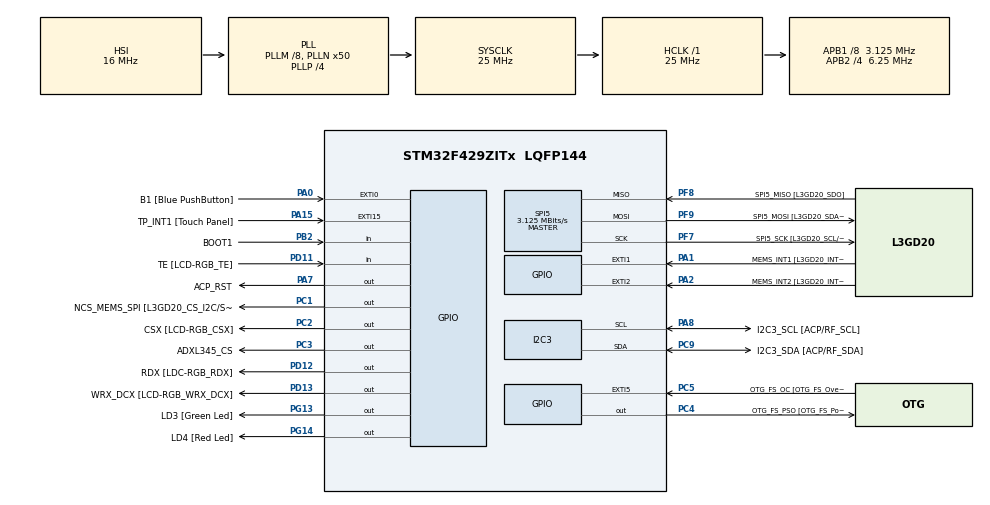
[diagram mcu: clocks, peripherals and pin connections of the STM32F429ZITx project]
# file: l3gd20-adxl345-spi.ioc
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Dma.I2C3_RX.2.Direction=DMA_PERIPH_TO_MEMORY
Dma.I2C3_RX.2.FIFOMode=DMA_FIFOMODE_DISABLE
Dma.I2C3_RX.2.Instance=DMA1_Stream2
Dma.I2C3_RX.2.MemDataAlignment=DMA_MDATAALIGN_BYTE
Dma.I2C3_RX.2.MemInc=DMA_MINC_ENABLE
Dma.I2C3_RX.2.Mode=DMA_NORMAL
Dma.I2C3_RX.2.PeriphDataAlignment=DMA_PDATAALIGN_BYTE
Dma.I2C3_RX.2.PeriphInc=DMA_PINC_DISABLE
Dma.I2C3_RX.2.Priority=DMA_PRIORITY_LOW
Dma.Request0=SPI5_RX
Dma.Request1=SPI5_TX
Dma.Request2=I2C3_RX
Dma.SPI5_RX.0.Direction=DMA_PERIPH_TO_MEMORY
Dma.SPI5_RX.0.FIFOMode=DMA_FIFOMODE_DISABLE
Dma.SPI5_RX.0.Instance=DMA2_Stream3
Dma.SPI5_RX.0.MemDataAlignment=DMA_MDATAALIGN_BYTE
Dma.SPI5_RX.0.MemInc=DMA_MINC_ENABLE
Dma.SPI5_RX.0.Mode=DMA_NORMAL
Dma.SPI5_RX.0.PeriphDataAlignment=DMA_PDATAALIGN_BYTE
Dma.SPI5_RX.0.PeriphInc=DMA_PINC_DISABLE
Dma.SPI5_RX.0.Priority=DMA_PRIORITY_LOW
Dma.SPI5_TX.1.Direction=DMA_MEMORY_TO_PERIPH
Dma.SPI5_TX.1.FIFOMode=DMA_FIFOMODE_DISABLE
Dma.SPI5_TX.1.Instance=DMA2_Stream4
Dma.SPI5_TX.1.MemDataAlignment=DMA_MDATAALIGN_BYTE
Dma.SPI5_TX.1.MemInc=DMA_MINC_ENABLE
Dma.SPI5_TX.1.Mode=DMA_NORMAL
Dma.SPI5_TX.1.PeriphDataAlignment=DMA_PDATAALIGN_BYTE
Dma.SPI5_TX.1.PeriphInc=DMA_PINC_DISABLE
Dma.SPI5_TX.1.Priority=DMA_PRIORITY_LOW
Mcu.Family=STM32F4
Mcu.Name=STM32F429ZITx
Mcu.Package=LQFP144
NVIC.DMA1_Stream2_IRQn=true\:0\:0\:false\:false\:true\:false\:true\:true
NVIC.DMA2_Stream3_IRQn=true\:0\:0\:false\:false\:true\:false\:true\:true
NVIC.DMA2_Stream4_IRQn=true\:0\:0\:false\:false\:true\:false\:true\:true
NVIC.I2C3_ER_IRQn=true\:0\:0\:false\:false\:true\:true\:true\:true
NVIC.I2C3_EV_IRQn=true\:0\:0\:false\:false\:true\:true\:true\:true
NVIC.PriorityGroup=NVIC_PRIORITYGROUP_0
NVIC.SPI5_IRQn=true\:0\:0\:false\:false\:true\:true\:true\:true
NVIC.TIM2_IRQn=true\:0\:0\:false\:false\:true\:true\:true\:true
PA0/WKUP.GPIO_Label=B1 [Blue PushButton]
PA0/WKUP.GPIO_ModeDefaultEXTI=GPIO_MODE_EVT_RISING
PA0/WKUP.GPIO_PuPd=GPIO_NOPULL
PA0/WKUP.Signal=GPXTI0
PA1.GPIO_Label=MEMS_INT1 [L3GD20_INT1]
PA1.GPIO_ModeDefaultEXTI=GPIO_MODE_EVT_RISING
PA1.GPIO_PuPd=GPIO_NOPULL
PA1.Signal=GPXTI1
PA10.GPIO_Label=STLINK_TX [STM32F103CBT6_PA2]
PA10.Signal=USART1_RX
PA11.GPIO_Label=R4
PA11.GPIO_Mode=GPIO_MODE_AF_PP
PA11.GPIO_PuPd=GPIO_NOPULL
PA11.GPIO_Speed=GPIO_SPEED_FREQ_LOW
PA11.Signal=LTDC_R4
PA12.GPIO_Label=R5
PA12.GPIO_Mode=GPIO_MODE_AF_PP
PA12.GPIO_PuPd=GPIO_NOPULL
PA12.GPIO_Speed=GPIO_SPEED_FREQ_LOW
PA12.Signal=LTDC_R5
PA13.GPIO_Label=SWDIO
PA13.Signal=SYS_JTMS-SWDIO
PA14.GPIO_Label=SWCLK
PA14.Signal=SYS_JTCK-SWCLK
PA15.GPIO_Label=TP_INT1 [Touch Panel]
PA15.GPIO_ModeDefaultEXTI=GPIO_MODE_EVT_RISING
PA15.GPIO_PuPd=GPIO_NOPULL
PA15.Signal=GPXTI15
PA2.GPIO_Label=MEMS_INT2 [L3GD20_INT2]
PA2.GPIO_ModeDefaultEXTI=GPIO_MODE_EVT_RISING
PA2.GPIO_PuPd=GPIO_NOPULL
PA2.Signal=GPXTI2
PA3.GPIO_Label=B5
PA3.GPIO_Mode=GPIO_MODE_AF_PP
PA3.GPIO_PuPd=GPIO_NOPULL
PA3.GPIO_Speed=GPIO_SPEED_FREQ_LOW
PA3.Signal=LTDC_B5
PA4.GPIO_Label=VSYNC
PA4.GPIO_Mode=GPIO_MODE_AF_PP
PA4.GPIO_PuPd=GPIO_NOPULL
PA4.GPIO_Speed=GPIO_SPEED_FREQ_LOW
PA4.Signal=LTDC_VSYNC
PA6.GPIO_Label=G2
PA6.GPIO_Mode=GPIO_MODE_AF_PP
PA6.GPIO_PuPd=GPIO_NOPULL
PA6.GPIO_Speed=GPIO_SPEED_FREQ_LOW
PA6.Signal=LTDC_G2
PA7.GPIO_Label=ACP_RST
PA7.GPIO_Mode=GPIO_MODE_OUTPUT_PP
PA7.GPIO_PuPd=GPIO_NOPULL
PA7.GPIO_Speed=GPIO_SPEED_FREQ_LOW
PA7.Signal=GPIO_Output
PA8.GPIO_Label=I2C3_SCL [ACP/RF_SCL]
PA8.GPIO_Mode=GPIO_MODE_AF_OD
PA8.GPIO_PuPd=GPIO_NOPULL
PA8.GPIO_Speed=GPIO_SPEED_FREQ_LOW
PA8.Mode=I2C
PA8.Signal=I2C3_SCL
PA9.GPIO_Label=STLINK_RX [STM32F103CBT6_PA3]
PA9.Signal=USART1_TX
PB0.GPIO_Label=R3
PB0.GPIO_Mode=GPIO_MODE_AF_PP
PB0.GPIO_PuPd=GPIO_NOPULL
PB0.GPIO_Speed=GPIO_SPEED_FREQ_LOW
PB0.Signal=LTDC_R3
PB1.GPIO_Label=R6
PB1.GPIO_Mode=GPIO_MODE_AF_PP
PB1.GPIO_PuPd=GPIO_NOPULL
PB1.GPIO_Speed=GPIO_SPEED_FREQ_LOW
PB1.Signal=LTDC_R6
PB10.GPIO_Label=G4
PB10.GPIO_Mode=GPIO_MODE_AF_PP
PB10.GPIO_PuPd=GPIO_NOPULL
PB10.GPIO_Speed=GPIO_SPEED_FREQ_LOW
PB10.Signal=LTDC_G4
PB11.GPIO_Label=G5
PB11.GPIO_Mode=GPIO_MODE_AF_PP
PB11.GPIO_PuPd=GPIO_NOPULL
PB11.GPIO_Speed=GPIO_SPEED_FREQ_LOW
PB11.Signal=LTDC_G5
PB12.GPIO_Label=OTG_HS_ID
PB12.GPIO_Mode=GPIO_MODE_AF_PP
PB12.GPIO_PuPd=GPIO_NOPULL
PB12.GPIO_Speed=GPIO_SPEED_FREQ_LOW
PB12.Signal=USB_OTG_HS_ID
PB13.GPIO_Label=VBUS_HS
PB13.GPIO_Mode=GPIO_MODE_INPUT
PB13.GPIO_PuPd=GPIO_NOPULL
PB13.Signal=USB_OTG_HS_VBUS
PB14.GPIO_Label=OTG_HS_DM
PB14.GPIO_Mode=GPIO_MODE_AF_PP
PB14.GPIO_PuPd=GPIO_NOPULL
PB14.GPIO_Speed=GPIO_SPEED_FREQ_LOW
PB14.Signal=USB_OTG_HS_DM
PB15.GPIO_Label=OTG_HS_DP
PB15.GPIO_Mode=GPIO_MODE_AF_PP
PB15.GPIO_PuPd=GPIO_NOPULL
PB15.GPIO_Speed=GPIO_SPEED_FREQ_LOW
PB15.Signal=USB_OTG_HS_DP
PB2/BOOT1.GPIO_Label=BOOT1
PB2/BOOT1.GPIO_Mode=GPIO_MODE_INPUT
PB2/BOOT1.GPIO_PuPd=GPIO_NOPULL
PB2/BOOT1.Signal=GPIO_Input
PB5.GPIO_Label=SDCKE1
PB5.GPIO_Mode=GPIO_MODE_AF_PP
PB5.GPIO_PuPd=GPIO_NOPULL
PB5.GPIO_Speed=GPIO_SPEED_FREQ_VERY_HIGH
PB5.Signal=FMC_SDCKE1
PB6.GPIO_Label=SDNE1 [SDRAM_CS]
PB6.GPIO_Mode=GPIO_MODE_AF_PP
PB6.GPIO_PuPd=GPIO_NOPULL
PB6.GPIO_Speed=GPIO_SPEED_FREQ_VERY_HIGH
PB6.Signal=FMC_SDNE1
PB8.GPIO_Label=B6
PB8.GPIO_Mode=GPIO_MODE_AF_PP
PB8.GPIO_PuPd=GPIO_NOPULL
PB8.GPIO_Speed=GPIO_SPEED_FREQ_LOW
PB8.Signal=LTDC_B6
PB9.GPIO_Label=B7
PB9.GPIO_Mode=GPIO_MODE_AF_PP
PB9.GPIO_PuPd=GPIO_NOPULL
PB9.GPIO_Speed=GPIO_SPEED_FREQ_LOW
PB9.Signal=LTDC_B7
PC0.GPIO_Label=SDNWE
PC0.GPIO_Mode=GPIO_MODE_AF_PP
PC0.GPIO_PuPd=GPIO_NOPULL
PC0.GPIO_Speed=GPIO_SPEED_FREQ_VERY_HIGH
PC0.Signal=FMC_SDNWE
PC1.GPIO_Label=NCS_MEMS_SPI [L3GD20_CS_I2C/SPI]
PC1.GPIO_Mode=GPIO_MODE_OUTPUT_PP
PC1.GPIO_PuPd=GPIO_NOPULL
PC1.GPIO_Speed=GPIO_SPEED_FREQ_LOW
PC1.PinState=GPIO_PIN_SET
PC1.Signal=GPIO_Output
PC10.GPIO_Label=R2
PC10.GPIO_Mode=GPIO_MODE_AF_PP
PC10.GPIO_PuPd=GPIO_NOPULL
PC10.GPIO_Speed=GPIO_SPEED_FREQ_LOW
PC10.Signal=LTDC_R2
PC14/OSC32_IN.GPIO_Label=PC14-OSC32_IN
PC14/OSC32_IN.Signal=RCC_OSC32_IN
PC15/OSC32_OUT.GPIO_Label=PC15-OSC32_OUT
PC15/OSC32_OUT.Signal=RCC_OSC32_OUT
PC2.GPIO_Label=CSX [LCD-RGB_CSX]
PC2.GPIO_Mode=GPIO_MODE_OUTPUT_PP
PC2.GPIO_PuPd=GPIO_NOPULL
PC2.GPIO_Speed=GPIO_SPEED_FREQ_LOW
PC2.Signal=GPIO_Output
PC3.GPIO_Label=ADXL345_CS
PC3.PinState=GPIO_PIN_SET
PC3.Signal=GPIO_Output
PC4.GPIO_Label=OTG_FS_PSO [OTG_FS_PowerSwitchOn]
PC4.GPIO_Mode=GPIO_MODE_OUTPUT_PP
PC4.GPIO_PuPd=GPIO_NOPULL
PC4.GPIO_Speed=GPIO_SPEED_FREQ_LOW
PC4.Signal=GPIO_Output
PC5.GPIO_Label=OTG_FS_OC [OTG_FS_OverCurrent]
PC5.GPIO_ModeDefaultEXTI=GPIO_MODE_EVT_RISING
PC5.Signal=GPXTI5
PC6.GPIO_Label=HSYNC
PC6.GPIO_Mode=GPIO_MODE_AF_PP
PC6.GPIO_PuPd=GPIO_NOPULL
PC6.GPIO_Speed=GPIO_SPEED_FREQ_LOW
PC6.Signal=LTDC_HSYNC
PC7.GPIO_Label=G6
PC7.GPIO_Mode=GPIO_MODE_AF_PP
PC7.GPIO_PuPd=GPIO_NOPULL
PC7.GPIO_Speed=GPIO_SPEED_FREQ_LOW
PC7.Signal=LTDC_G6
PC9.GPIO_Label=I2C3_SDA [ACP/RF_SDA]
PC9.GPIO_Mode=GPIO_MODE_AF_OD
PC9.GPIO_PuPd=GPIO_NOPULL
PC9.GPIO_Speed=GPIO_SPEED_FREQ_LOW
PC9.Mode=I2C
PC9.Signal=I2C3_SDA
PD0.GPIO_Label=D2
PD0.GPIO_Mode=GPIO_MODE_AF_PP
PD0.GPIO_PuPd=GPIO_NOPULL
PD0.GPIO_Speed=GPIO_SPEED_FREQ_VERY_HIGH
PD0.Signal=FMC_D2_DA2
PD1.GPIO_Label=D3
PD1.GPIO_Mode=GPIO_MODE_AF_PP
PD1.GPIO_PuPd=GPIO_NOPULL
PD1.GPIO_Speed=GPIO_SPEED_FREQ_VERY_HIGH
PD1.Signal=FMC_D3_DA3
PD10.GPIO_Label=D15
PD10.GPIO_Mode=GPIO_MODE_AF_PP
PD10.GPIO_PuPd=GPIO_NOPULL
PD10.GPIO_Speed=GPIO_SPEED_FREQ_VERY_HIGH
PD10.Signal=FMC_D15_DA15
PD11.GPIO_Label=TE [LCD-RGB_TE]
PD11.GPIO_Mode=GPIO_MODE_INPUT
PD11.GPIO_PuPd=GPIO_NOPULL
PD11.Signal=GPIO_Input
PD12.GPIO_Label=RDX [LDC-RGB_RDX]
PD12.GPIO_Mode=GPIO_MODE_OUTPUT_PP
PD12.GPIO_PuPd=GPIO_NOPULL
PD12.GPIO_Speed=GPIO_SPEED_FREQ_LOW
PD12.Signal=GPIO_Output
PD13.GPIO_Label=WRX_DCX [LCD-RGB_WRX_DCX]
PD13.GPIO_Mode=GPIO_MODE_OUTPUT_PP
PD13.GPIO_PuPd=GPIO_NOPULL
PD13.GPIO_Speed=GPIO_SPEED_FREQ_LOW
PD13.Signal=GPIO_Output
PD14.GPIO_Label=D0
PD14.GPIO_Mode=GPIO_MODE_AF_PP
PD14.GPIO_PuPd=GPIO_NOPULL
PD14.GPIO_Speed=GPIO_SPEED_FREQ_VERY_HIGH
PD14.Signal=FMC_D0_DA0
PD15.GPIO_Label=D1
PD15.GPIO_Mode=GPIO_MODE_AF_PP
PD15.GPIO_PuPd=GPIO_NOPULL
PD15.GPIO_Speed=GPIO_SPEED_FREQ_VERY_HIGH
PD15.Signal=FMC_D1_DA1
PD3.GPIO_Label=G7
PD3.GPIO_Mode=GPIO_MODE_AF_PP
PD3.GPIO_PuPd=GPIO_NOPULL
PD3.GPIO_Speed=GPIO_SPEED_FREQ_LOW
PD3.Signal=LTDC_G7
PD6.GPIO_Label=B2
PD6.GPIO_Mode=GPIO_MODE_AF_PP
PD6.GPIO_PuPd=GPIO_NOPULL
PD6.GPIO_Speed=GPIO_SPEED_FREQ_LOW
PD6.Signal=LTDC_B2
PD8.GPIO_Label=D13
PD8.GPIO_Mode=GPIO_MODE_AF_PP
PD8.GPIO_PuPd=GPIO_NOPULL
PD8.GPIO_Speed=GPIO_SPEED_FREQ_VERY_HIGH
PD8.Signal=FMC_D13_DA13
PD9.GPIO_Label=D14
PD9.GPIO_Mode=GPIO_MODE_AF_PP
PD9.GPIO_PuPd=GPIO_NOPULL
PD9.GPIO_Speed=GPIO_SPEED_FREQ_VERY_HIGH
PD9.Signal=FMC_D14_DA14
PE0.GPIO_Label=NBL0 [SDRAM_LDQM]
PE0.GPIO_Mode=GPIO_MODE_AF_PP
PE0.GPIO_PuPd=GPIO_NOPULL
PE0.GPIO_Speed=GPIO_SPEED_FREQ_VERY_HIGH
PE0.Signal=FMC_NBL0
PE1.GPIO_Label=NBL1 [SDRAM_UDQM]
PE1.GPIO_Mode=GPIO_MODE_AF_PP
PE1.GPIO_PuPd=GPIO_NOPULL
PE1.GPIO_Speed=GPIO_SPEED_FREQ_VERY_HIGH
PE1.Signal=FMC_NBL1
PE10.GPIO_Label=D7
PE10.GPIO_Mode=GPIO_MODE_AF_PP
PE10.GPIO_PuPd=GPIO_NOPULL
PE10.GPIO_Speed=GPIO_SPEED_FREQ_VERY_HIGH
PE10.Signal=FMC_D7_DA7
PE11.GPIO_Label=D8
PE11.GPIO_Mode=GPIO_MODE_AF_PP
PE11.GPIO_PuPd=GPIO_NOPULL
PE11.GPIO_Speed=GPIO_SPEED_FREQ_VERY_HIGH
PE11.Signal=FMC_D8_DA8
PE12.GPIO_Label=D9
PE12.GPIO_Mode=GPIO_MODE_AF_PP
PE12.GPIO_PuPd=GPIO_NOPULL
PE12.GPIO_Speed=GPIO_SPEED_FREQ_VERY_HIGH
PE12.Signal=FMC_D9_DA9
PE13.GPIO_Label=D10
PE13.GPIO_Mode=GPIO_MODE_AF_PP
PE13.GPIO_PuPd=GPIO_NOPULL
PE13.GPIO_Speed=GPIO_SPEED_FREQ_VERY_HIGH
PE13.Signal=FMC_D10_DA10
PE14.GPIO_Label=D11
PE14.GPIO_Mode=GPIO_MODE_AF_PP
PE14.GPIO_PuPd=GPIO_NOPULL
PE14.GPIO_Speed=GPIO_SPEED_FREQ_VERY_HIGH
PE14.Signal=FMC_D11_DA11
PE15.GPIO_Label=D12
PE15.GPIO_Mode=GPIO_MODE_AF_PP
PE15.GPIO_PuPd=GPIO_NOPULL
PE15.GPIO_Speed=GPIO_SPEED_FREQ_VERY_HIGH
PE15.Signal=FMC_D12_DA12
PE7.GPIO_Label=D4
PE7.GPIO_Mode=GPIO_MODE_AF_PP
PE7.GPIO_PuPd=GPIO_NOPULL
PE7.GPIO_Speed=GPIO_SPEED_FREQ_VERY_HIGH
PE7.Signal=FMC_D4_DA4
PE8.GPIO_Label=D5
PE8.GPIO_Mode=GPIO_MODE_AF_PP
PE8.GPIO_PuPd=GPIO_NOPULL
PE8.GPIO_Speed=GPIO_SPEED_FREQ_VERY_HIGH
PE8.Signal=FMC_D5_DA5
PE9.GPIO_Label=D6
PE9.GPIO_Mode=GPIO_MODE_AF_PP
PE9.GPIO_PuPd=GPIO_NOPULL
PE9.GPIO_Speed=GPIO_SPEED_FREQ_VERY_HIGH
PE9.Signal=FMC_D6_DA6
PF0.GPIO_Label=A0
PF0.GPIO_Mode=GPIO_MODE_AF_PP
PF0.GPIO_PuPd=GPIO_NOPULL
PF0.GPIO_Speed=GPIO_SPEED_FREQ_VERY_HIGH
PF0.Signal=FMC_A0
PF1.GPIO_Label=A1
PF1.GPIO_Mode=GPIO_MODE_AF_PP
PF1.GPIO_PuPd=GPIO_NOPULL
PF1.GPIO_Speed=GPIO_SPEED_FREQ_VERY_HIGH
PF1.Signal=FMC_A1
PF10.GPIO_Label=ENABLE [LCD-RGB_ENABLE]
PF10.GPIO_Mode=GPIO_MODE_AF_PP
PF10.GPIO_PuPd=GPIO_NOPULL
PF10.GPIO_Speed=GPIO_SPEED_FREQ_LOW
PF10.Signal=LTDC_DE
PF11.GPIO_Label=SDNRAS
PF11.GPIO_Mode=GPIO_MODE_AF_PP
PF11.GPIO_PuPd=GPIO_NOPULL
PF11.GPIO_Speed=GPIO_SPEED_FREQ_VERY_HIGH
PF11.Signal=FMC_SDNRAS
PF12.GPIO_Label=A6
PF12.GPIO_Mode=GPIO_MODE_AF_PP
PF12.GPIO_PuPd=GPIO_NOPULL
PF12.GPIO_Speed=GPIO_SPEED_FREQ_VERY_HIGH
PF12.Signal=FMC_A6
PF13.GPIO_Label=A7
PF13.GPIO_Mode=GPIO_MODE_AF_PP
PF13.GPIO_PuPd=GPIO_NOPULL
PF13.GPIO_Speed=GPIO_SPEED_FREQ_VERY_HIGH
PF13.Signal=FMC_A7
PF14.GPIO_Label=A8
PF14.GPIO_Mode=GPIO_MODE_AF_PP
PF14.GPIO_PuPd=GPIO_NOPULL
PF14.GPIO_Speed=GPIO_SPEED_FREQ_VERY_HIGH
PF14.Signal=FMC_A8
PF15.GPIO_Label=A9
PF15.GPIO_Mode=GPIO_MODE_AF_PP
PF15.GPIO_PuPd=GPIO_NOPULL
PF15.GPIO_Speed=GPIO_SPEED_FREQ_VERY_HIGH
PF15.Signal=FMC_A9
PF2.GPIO_Label=A2
PF2.GPIO_Mode=GPIO_MODE_AF_PP
PF2.GPIO_PuPd=GPIO_NOPULL
PF2.GPIO_Speed=GPIO_SPEED_FREQ_VERY_HIGH
PF2.Signal=FMC_A2
PF3.GPIO_Label=A3
PF3.GPIO_Mode=GPIO_MODE_AF_PP
PF3.GPIO_PuPd=GPIO_NOPULL
PF3.GPIO_Speed=GPIO_SPEED_FREQ_VERY_HIGH
PF3.Signal=FMC_A3
PF4.GPIO_Label=A4
PF4.GPIO_Mode=GPIO_MODE_AF_PP
PF4.GPIO_PuPd=GPIO_NOPULL
PF4.GPIO_Speed=GPIO_SPEED_FREQ_VERY_HIGH
PF4.Signal=FMC_A4
PF5.GPIO_Label=A5
PF5.GPIO_Mode=GPIO_MODE_AF_PP
PF5.GPIO_PuPd=GPIO_NOPULL
PF5.GPIO_Speed=GPIO_SPEED_FREQ_VERY_HIGH
PF5.Signal=FMC_A5
PF7.GPIO_Label=SPI5_SCK [L3GD20_SCL/SPC]
PF7.GPIO_Mode=GPIO_MODE_AF_PP
PF7.GPIO_PuPd=GPIO_NOPULL
PF7.GPIO_Speed=GPIO_SPEED_FREQ_LOW
PF7.Mode=Full_Duplex_Master
PF7.Signal=SPI5_SCK
PF8.GPIO_Label=SPI5_MISO [L3GD20_SDO]
PF8.GPIO_Mode=GPIO_MODE_AF_PP
PF8.GPIO_PuPd=GPIO_NOPULL
PF8.GPIO_Speed=GPIO_SPEED_FREQ_LOW
PF8.Mode=Full_Duplex_Master
PF8.Signal=SPI5_MISO
PF9.GPIO_Label=SPI5_MOSI [L3GD20_SDA/SDI/SDO]
PF9.GPIO_Mode=GPIO_MODE_AF_PP
PF9.GPIO_PuPd=GPIO_NOPULL
PF9.GPIO_Speed=GPIO_SPEED_FREQ_LOW
PF9.Mode=Full_Duplex_Master
PF9.Signal=SPI5_MOSI
PG0.GPIO_Label=A10
PG0.GPIO_Mode=GPIO_MODE_AF_PP
PG0.GPIO_PuPd=GPIO_NOPULL
PG0.GPIO_Speed=GPIO_SPEED_FREQ_VERY_HIGH
PG0.Signal=FMC_A10
PG1.GPIO_Label=A11
PG1.GPIO_Mode=GPIO_MODE_AF_PP
PG1.GPIO_PuPd=GPIO_NOPULL
PG1.GPIO_Speed=GPIO_SPEED_FREQ_VERY_HIGH
PG1.Signal=FMC_A11
PG10.GPIO_Label=G3
PG10.GPIO_Mode=GPIO_MODE_AF_PP
PG10.GPIO_PuPd=GPIO_NOPULL
PG10.GPIO_Speed=GPIO_SPEED_FREQ_LOW
PG10.Signal=LTDC_G3
PG11.GPIO_Label=B3
PG11.GPIO_Mode=GPIO_MODE_AF_PP
PG11.GPIO_PuPd=GPIO_NOPULL
PG11.GPIO_Speed=GPIO_SPEED_FREQ_LOW
PG11.Signal=LTDC_B3
PG12.GPIO_Label=B4
PG12.GPIO_Mode=GPIO_MODE_AF_PP
PG12.GPIO_PuPd=GPIO_NOPULL
PG12.GPIO_Speed=GPIO_SPEED_FREQ_LOW
PG12.Signal=LTDC_B4
PG13.GPIO_Label=LD3 [Green Led]
PG13.GPIO_Mode=GPIO_MODE_OUTPUT_PP
PG13.GPIO_PuPd=GPIO_NOPULL
PG13.GPIO_Speed=GPIO_SPEED_FREQ_LOW
PG13.Signal=GPIO_Output
PG14.GPIO_Label=LD4 [Red Led]
PG14.GPIO_Mode=GPIO_MODE_OUTPUT_PP
PG14.GPIO_PuPd=GPIO_NOPULL
PG14.GPIO_Speed=GPIO_SPEED_FREQ_LOW
PG14.Signal=GPIO_Output
PG15.GPIO_Label=SDNCAS
PG15.GPIO_Mode=GPIO_MODE_AF_PP
PG15.GPIO_PuPd=GPIO_NOPULL
PG15.GPIO_Speed=GPIO_SPEED_FREQ_VERY_HIGH
PG15.Signal=FMC_SDNCAS
PG4.GPIO_Label=BA0
PG4.GPIO_Mode=GPIO_MODE_AF_PP
PG4.GPIO_PuPd=GPIO_NOPULL
PG4.GPIO_Speed=GPIO_SPEED_FREQ_VERY_HIGH
PG4.Signal=FMC_A14_BA0
PG5.GPIO_Label=BA1
PG5.GPIO_Mode=GPIO_MODE_AF_PP
PG5.GPIO_PuPd=GPIO_NOPULL
PG5.GPIO_Speed=GPIO_SPEED_FREQ_VERY_HIGH
PG5.Signal=FMC_A15_BA1
PG6.GPIO_Label=R7
PG6.GPIO_Mode=GPIO_MODE_AF_PP
PG6.GPIO_PuPd=GPIO_NOPULL
PG6.GPIO_Speed=GPIO_SPEED_FREQ_LOW
PG6.Signal=LTDC_R7
PG7.GPIO_Label=DOTCLK [LCT-RGB_DOTCLK]
PG7.GPIO_Mode=GPIO_MODE_AF_PP
PG7.GPIO_PuPd=GPIO_NOPULL
PG7.GPIO_Speed=GPIO_SPEED_FREQ_LOW
PG7.Signal=LTDC_CLK
PG8.GPIO_Label=SDCLK
PG8.GPIO_Mode=GPIO_MODE_AF_PP
PG8.GPIO_PuPd=GPIO_NOPULL
PG8.GPIO_Speed=GPIO_SPEED_FREQ_VERY_HIGH
PG8.Signal=FMC_SDCLK
PH0/OSC_IN.GPIO_Label=PH0-OSC_IN
PH0/OSC_IN.Signal=RCC_OSC_IN
PH1/OSC_OUT.GPIO_Label=PH1-OSC_OUT
PH1/OSC_OUT.Signal=RCC_OSC_OUT
ProjectManager.HeapSize=0x200
ProjectManager.StackSize=0x400
ProjectManager.TargetToolchain=STM32CubeIDE
RCC.48MHZClocksFreq_Value=14285714.285714285
RCC.AHBFreq_Value=25000000
RCC.APB1CLKDivider=RCC_HCLK_DIV8
RCC.APB1Freq_Value=3125000
RCC.APB1TimFreq_Value=6250000
RCC.APB2CLKDivider=RCC_HCLK_DIV4
RCC.APB2Freq_Value=6250000
RCC.APB2TimFreq_Value=12500000
RCC.CortexFreq_Value=25000000
RCC.HCLKFreq_Value=25000000
RCC.HSE_VALUE=8000000
RCC.HSI_VALUE=16000000
RCC.LSE_VALUE=32768
RCC.PLLM=8
RCC.PLLN=50
RCC.PLLP=RCC_PLLP_DIV4
RCC.PLLQ=7
RCC.SYSCLKFreq_VALUE=25000000
RCC.SYSCLKSource=RCC_SYSCLKSOURCE_PLLCLK
RCC.VCOOutputFreq_Value=100000000
SH.FMC_A0.0=FMC_A0
SH.FMC_A1.0=FMC_A1
SH.FMC_A10.0=FMC_A10
SH.FMC_A11.0=FMC_A11
SH.FMC_A14_BA0.0=FMC_BA0
SH.FMC_A15_BA1.0=FMC_BA1
SH.FMC_A2.0=FMC_A2
SH.FMC_A3.0=FMC_A3
SH.FMC_A4.0=FMC_A4
SH.FMC_A5.0=FMC_A5
SH.FMC_A6.0=FMC_A6
SH.FMC_A7.0=FMC_A7
SH.FMC_A8.0=FMC_A8
SH.FMC_A9.0=FMC_A9
SH.FMC_D0_DA0.0=FMC_D0
SH.FMC_D10_DA10.0=FMC_D10
SH.FMC_D11_DA11.0=FMC_D11
SH.FMC_D12_DA12.0=FMC_D12
SH.FMC_D13_DA13.0=FMC_D13
SH.FMC_D14_DA14.0=FMC_D14
SH.FMC_D15_DA15.0=FMC_D15
SH.FMC_D1_DA1.0=FMC_D1
SH.FMC_D2_DA2.0=FMC_D2
SH.FMC_D3_DA3.0=FMC_D3
SH.FMC_D4_DA4.0=FMC_D4
SH.FMC_D5_DA5.0=FMC_D5
SH.FMC_D6_DA6.0=FMC_D6
SH.FMC_D7_DA7.0=FMC_D7
SH.FMC_D8_DA8.0=FMC_D8
SH.FMC_D9_DA9.0=FMC_D9
SH.FMC_NBL0.0=FMC_NBL0
SH.FMC_NBL1.0=FMC_NBL1
SH.FMC_SDCLK.0=FMC_SDCLK
SH.FMC_SDNCAS.0=FMC_SDNCAS
SH.FMC_SDNRAS.0=FMC_SDNRAS
SH.FMC_SDNWE.0=FMC_SDNWE
SPI5.BaudRatePrescaler=SPI_BAUDRATEPRESCALER_2
SPI5.CalculateBaudRate=3.125 MBits/s
SPI5.Direction=SPI_DIRECTION_2LINES
SPI5.Mode=SPI_MODE_MASTER
SPI5.VirtualType=VM_MASTER
TIM2.Period=999
TIM2.Prescaler=6249
VP_TIM2_VS_ClockSourceINT.Mode=Internal
board=STM32F429I-DISC1

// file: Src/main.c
/* USER CODE BEGIN Header */
/**
  ******************************************************************************
  * @file           : main.c
  * @brief          : Main program body
  ******************************************************************************
  * @attention
  *
  * Copyright (c) 2026 STMicroelectronics.
  * All rights reserved.
  *
  * This software is licensed under terms that can be found in the LICENSE file
  * in the root directory of this software component.
  * If no LICENSE file comes with this software, it is provided AS-IS.
  *
  ******************************************************************************
  */
/* USER CODE END Header */
#include "main.h"

/* USER CODE BEGIN Includes */
#include "l3gd20.h"
#include "math.h"
#include "adxl345_i2c.h"
#ifndef M_PI
#define M_PI 3.14159265358979323846f
#endif
/* USER CODE END Includes */

I2C_HandleTypeDef hi2c3;
DMA_HandleTypeDef hdma_i2c3_rx;

SPI_HandleTypeDef hspi5;
DMA_HandleTypeDef hdma_spi5_rx;
DMA_HandleTypeDef hdma_spi5_tx;

TIM_HandleTypeDef htim2;

/* USER CODE BEGIN PV */
_Bool loop = 1;

volatile uint8_t data;
uint16_t gyro[3];
volatile int16_t x_axis_l3gd20;
volatile int16_t y_axis_l3gd20;
volatile int16_t z_axis_l3gd20;
volatile int16_t x_axis_adxl345;
volatile int16_t y_axis_adxl345;
volatile int16_t z_axis_adxl345;
volatile float xdps;
volatile float ydps;
volatile float zdps;
float x_ang, y_ang, z_ang; //x_ang: angle between x an yz field ... (l3gd20)
float grav_x, grav_y, grav_z;
float x_ang, y_ang, z_ang; //x_ang: Roll, y_ang: Pitch, z_ang: Yaw
float grav_x, grav_y, grav_z;
float lin_acc_x, lin_acc_y, lin_acc_z; // acceleration after gravity is eliminated
float lin_acc_x_g, lin_acc_y_g, lin_acc_z_g;
_Bool l3gd20_calibrated = 0;
_Bool adxl345_calibrated = 0;
uint8_t calibration_counter = 0;
float l3gd20_x_bias = 0.0f, l3gd20_y_bias = 0.0f, l3gd20_z_bias = 0.0f;
float adxl345_x_avg = 0.0f, adxl345_y_avg = 0.0f, adxl345_z_avg = 0.0f;
uint8_t pRx = 10;

/* USER CODE END PV */

void SystemClock_Config(void);
static void MX_GPIO_Init(void);
static void MX_DMA_Init(void);
static void MX_SPI5_Init(void);
static void MX_I2C3_Init(void);
static void MX_TIM2_Init(void);
/* USER CODE BEGIN PFP */
void HAL_TIM_PeriodElapsedCallback(TIM_HandleTypeDef *htim);
static void l3gd20_calculate_angle(void);
static void adxl345_calculate_orientation(void);
/* USER CODE END PFP */

int main(void)
{

  /* USER CODE BEGIN 1 */
  x_ang = 0.0;
  y_ang = 0.0;
  z_ang = 0.0;
  /* USER CODE END 1 */

  /* MCU Configuration--------------------------------------------------------*/

  /* Reset of all peripherals, Initializes the Flash interface and the Systick. */
  HAL_Init();

  /* Configure the system clock */
  SystemClock_Config();

  /* Initialize all configured peripherals */
  MX_GPIO_Init();
  MX_DMA_Init();
  MX_SPI5_Init();
  MX_I2C3_Init();
  MX_TIM2_Init();

  /* Infinite loop */
  /* USER CODE BEGIN WHILE */
  //Initialize

  L3GD20_Init(&hspi5, &x_axis_l3gd20, &y_axis_l3gd20, &z_axis_l3gd20, &xdps, &ydps, &zdps);
  ADXL345_Init_I2C(&hi2c3, &x_axis_adxl345, &y_axis_adxl345, &z_axis_adxl345);
  HAL_TIM_Base_Start_IT(&htim2);
  HAL_StatusTypeDef status = ADXL345_Reg_Read_I2C(ADXL345_DEVID, &pRx);
  //
  //
    while (1)
  {
    	//ana loop
    	if(loop) {
        	ADXL345_ReadAxes_DMA_I2C();
        	loop = 0;
    	}
    	HAL_Delay(1);

    /* USER CODE END WHILE */

  }
}

void SystemClock_Config(void)
{
  RCC_OscInitTypeDef RCC_OscInitStruct = {0};
  RCC_ClkInitTypeDef RCC_ClkInitStruct = {0};

  /** Configure the main internal regulator output voltage
  */
  __HAL_RCC_PWR_CLK_ENABLE();
  __HAL_PWR_VOLTAGESCALING_CONFIG(PWR_REGULATOR_VOLTAGE_SCALE3);

  /** Initializes the RCC Oscillators according to the specified parameters
  * in the RCC_OscInitTypeDef structure.
  */
  RCC_OscInitStruct.OscillatorType = RCC_OSCILLATORTYPE_HSI;
  RCC_OscInitStruct.HSIState = RCC_HSI_ON;
  RCC_OscInitStruct.HSICalibrationValue = RCC_HSICALIBRATION_DEFAULT;
  RCC_OscInitStruct.PLL.PLLState = RCC_PLL_ON;
  RCC_OscInitStruct.PLL.PLLSource = RCC_PLLSOURCE_HSI;
  RCC_OscInitStruct.PLL.PLLM = 8;
  RCC_OscInitStruct.PLL.PLLN = 50;
  RCC_OscInitStruct.PLL.PLLP = RCC_PLLP_DIV4;
  RCC_OscInitStruct.PLL.PLLQ = 7;
  if (HAL_RCC_OscConfig(&RCC_OscInitStruct) != HAL_OK)
  {
    Error_Handler();
  }

  /** Initializes the CPU, AHB and APB buses clocks
  */
  RCC_ClkInitStruct.ClockType = RCC_CLOCKTYPE_HCLK|RCC_CLOCKTYPE_SYSCLK
                              |RCC_CLOCKTYPE_PCLK1|RCC_CLOCKTYPE_PCLK2;
  RCC_ClkInitStruct.SYSCLKSource = RCC_SYSCLKSOURCE_PLLCLK;
  RCC_ClkInitStruct.AHBCLKDivider = RCC_SYSCLK_DIV1;
  RCC_ClkInitStruct.APB1CLKDivider = RCC_HCLK_DIV8;
  RCC_ClkInitStruct.APB2CLKDivider = RCC_HCLK_DIV4;

  if (HAL_RCC_ClockConfig(&RCC_ClkInitStruct, FLASH_LATENCY_0) != HAL_OK)
  {
    Error_Handler();
  }
}

static void MX_I2C3_Init(void)
{

  hi2c3.Instance = I2C3;
  hi2c3.Init.ClockSpeed = 100000;
  hi2c3.Init.DutyCycle = I2C_DUTYCYCLE_2;
  hi2c3.Init.OwnAddress1 = 0;
  hi2c3.Init.AddressingMode = I2C_ADDRESSINGMODE_7BIT;
  hi2c3.Init.DualAddressMode = I2C_DUALADDRESS_DISABLE;
  hi2c3.Init.OwnAddress2 = 0;
  hi2c3.Init.GeneralCallMode = I2C_GENERALCALL_DISABLE;
  hi2c3.Init.NoStretchMode = I2C_NOSTRETCH_DISABLE;
  if (HAL_I2C_Init(&hi2c3) != HAL_OK)
  {
    Error_Handler();
  }

  /** Configure Analogue filter
  */
  if (HAL_I2CEx_ConfigAnalogFilter(&hi2c3, I2C_ANALOGFILTER_ENABLE) != HAL_OK)
  {
    Error_Handler();
  }

  /** Configure Digital filter
  */
  if (HAL_I2CEx_ConfigDigitalFilter(&hi2c3, 0) != HAL_OK)
  {
    Error_Handler();
  }

}

static void MX_SPI5_Init(void)
{

  /* SPI5 parameter configuration*/
  hspi5.Instance = SPI5;
  hspi5.Init.Mode = SPI_MODE_MASTER;
  hspi5.Init.Direction = SPI_DIRECTION_2LINES;
  hspi5.Init.DataSize = SPI_DATASIZE_8BIT;
  hspi5.Init.CLKPolarity = SPI_POLARITY_LOW;
  hspi5.Init.CLKPhase = SPI_PHASE_1EDGE;
  hspi5.Init.NSS = SPI_NSS_SOFT;
  hspi5.Init.BaudRatePrescaler = SPI_BAUDRATEPRESCALER_2;
  hspi5.Init.FirstBit = SPI_FIRSTBIT_MSB;
  hspi5.Init.TIMode = SPI_TIMODE_DISABLE;
  hspi5.Init.CRCCalculation = SPI_CRCCALCULATION_DISABLE;
  hspi5.Init.CRCPolynomial = 10;
  if (HAL_SPI_Init(&hspi5) != HAL_OK)
  {
    Error_Handler();
  }

}

static void MX_TIM2_Init(void)
{

  TIM_ClockConfigTypeDef sClockSourceConfig = {0};
  TIM_MasterConfigTypeDef sMasterConfig = {0};

  htim2.Instance = TIM2;
  htim2.Init.Prescaler = 6249;
  htim2.Init.CounterMode = TIM_COUNTERMODE_UP;
  htim2.Init.Period = 999;
  htim2.Init.ClockDivision = TIM_CLOCKDIVISION_DIV1;
  htim2.Init.AutoReloadPreload = TIM_AUTORELOAD_PRELOAD_DISABLE;
  if (HAL_TIM_Base_Init(&htim2) != HAL_OK)
  {
    Error_Handler();
  }
  sClockSourceConfig.ClockSource = TIM_CLOCKSOURCE_INTERNAL;
  if (HAL_TIM_ConfigClockSource(&htim2, &sClockSourceConfig) != HAL_OK)
  {
    Error_Handler();
  }
  sMasterConfig.MasterOutputTrigger = TIM_TRGO_RESET;
  sMasterConfig.MasterSlaveMode = TIM_MASTERSLAVEMODE_DISABLE;
  if (HAL_TIMEx_MasterConfigSynchronization(&htim2, &sMasterConfig) != HAL_OK)
  {
    Error_Handler();
  }

}

static void MX_DMA_Init(void)
{

  /* DMA controller clock enable */
  __HAL_RCC_DMA2_CLK_ENABLE();
  __HAL_RCC_DMA1_CLK_ENABLE();

  /* DMA interrupt init */
  /* DMA1_Stream2_IRQn interrupt configuration */
  HAL_NVIC_SetPriority(DMA1_Stream2_IRQn, 0, 0);
  HAL_NVIC_EnableIRQ(DMA1_Stream2_IRQn);
  /* DMA2_Stream3_IRQn interrupt configuration */
  HAL_NVIC_SetPriority(DMA2_Stream3_IRQn, 0, 0);
  HAL_NVIC_EnableIRQ(DMA2_Stream3_IRQn);
  /* DMA2_Stream4_IRQn interrupt configuration */
  HAL_NVIC_SetPriority(DMA2_Stream4_IRQn, 0, 0);
  HAL_NVIC_EnableIRQ(DMA2_Stream4_IRQn);

}

static void MX_GPIO_Init(void)
{
  GPIO_InitTypeDef GPIO_InitStruct = {0};

  /* GPIO Ports Clock Enable */
  __HAL_RCC_GPIOC_CLK_ENABLE();
  __HAL_RCC_GPIOF_CLK_ENABLE();
  __HAL_RCC_GPIOH_CLK_ENABLE();
  __HAL_RCC_GPIOA_CLK_ENABLE();
  __HAL_RCC_GPIOB_CLK_ENABLE();
  __HAL_RCC_GPIOG_CLK_ENABLE();
  __HAL_RCC_GPIOE_CLK_ENABLE();
  __HAL_RCC_GPIOD_CLK_ENABLE();

  /*Configure GPIO pin Output Level */
  HAL_GPIO_WritePin(GPIOC, NCS_MEMS_SPI_Pin|ADXL345_CS_Pin, GPIO_PIN_SET);

  /*Configure GPIO pin Output Level */
  HAL_GPIO_WritePin(GPIOC, CSX_Pin|OTG_FS_PSO_Pin, GPIO_PIN_RESET);

  /*Configure GPIO pin Output Level */
  HAL_GPIO_WritePin(ACP_RST_GPIO_Port, ACP_RST_Pin, GPIO_PIN_RESET);

  /*Configure GPIO pin Output Level */
  HAL_GPIO_WritePin(GPIOD, RDX_Pin|WRX_DCX_Pin, GPIO_PIN_RESET);

  /*Configure GPIO pin Output Level */
  HAL_GPIO_WritePin(GPIOG, LD3_Pin|LD4_Pin, GPIO_PIN_RESET);

  /*Configure GPIO pins : A0_Pin A1_Pin A2_Pin A3_Pin
                           A4_Pin A5_Pin SDNRAS_Pin A6_Pin
                           A7_Pin A8_Pin A9_Pin */
  GPIO_InitStruct.Pin = A0_Pin|A1_Pin|A2_Pin|A3_Pin
                          |A4_Pin|A5_Pin|SDNRAS_Pin|A6_Pin
                          |A7_Pin|A8_Pin|A9_Pin;
  GPIO_InitStruct.Mode = GPIO_MODE_AF_PP;
  GPIO_InitStruct.Pull = GPIO_NOPULL;
  GPIO_InitStruct.Speed = GPIO_SPEED_FREQ_VERY_HIGH;
  GPIO_InitStruct.Alternate = GPIO_AF12_FMC;
  HAL_GPIO_Init(GPIOF, &GPIO_InitStruct);

  /*Configure GPIO pin : ENABLE_Pin */
  GPIO_InitStruct.Pin = ENABLE_Pin;
  GPIO_InitStruct.Mode = GPIO_MODE_AF_PP;
  GPIO_InitStruct.Pull = GPIO_NOPULL;
  GPIO_InitStruct.Speed = GPIO_SPEED_FREQ_LOW;
  GPIO_InitStruct.Alternate = GPIO_AF14_LTDC;
  HAL_GPIO_Init(ENABLE_GPIO_Port, &GPIO_InitStruct);

  /*Configure GPIO pin : SDNWE_Pin */
  GPIO_InitStruct.Pin = SDNWE_Pin;
  GPIO_InitStruct.Mode = GPIO_MODE_AF_PP;
  GPIO_InitStruct.Pull = GPIO_NOPULL;
  GPIO_InitStruct.Speed = GPIO_SPEED_FREQ_VERY_HIGH;
  GPIO_InitStruct.Alternate = GPIO_AF12_FMC;
  HAL_GPIO_Init(SDNWE_GPIO_Port, &GPIO_InitStruct);

  /*Configure GPIO pins : NCS_MEMS_SPI_Pin CSX_Pin ADXL345_CS_Pin OTG_FS_PSO_Pin */
  GPIO_InitStruct.Pin = NCS_MEMS_SPI_Pin|CSX_Pin|ADXL345_CS_Pin|OTG_FS_PSO_Pin;
  GPIO_InitStruct.Mode = GPIO_MODE_OUTPUT_PP;
  GPIO_InitStruct.Pull = GPIO_NOPULL;
  GPIO_InitStruct.Speed = GPIO_SPEED_FREQ_LOW;
  HAL_GPIO_Init(GPIOC, &GPIO_InitStruct);

  /*Configure GPIO pins : B1_Pin MEMS_INT1_Pin TP_INT1_Pin */
  GPIO_InitStruct.Pin = B1_Pin|MEMS_INT1_Pin|TP_INT1_Pin;
  GPIO_InitStruct.Mode = GPIO_MODE_EVT_RISING;
  GPIO_InitStruct.Pull = GPIO_NOPULL;
  HAL_GPIO_Init(GPIOA, &GPIO_InitStruct);

  /*Configure GPIO pins : B5_Pin VSYNC_Pin G2_Pin R4_Pin
                           R5_Pin */
  GPIO_InitStruct.Pin = B5_Pin|VSYNC_Pin|G2_Pin|R4_Pin
                          |R5_Pin;
  GPIO_InitStruct.Mode = GPIO_MODE_AF_PP;
  GPIO_InitStruct.Pull = GPIO_NOPULL;
  GPIO_InitStruct.Speed = GPIO_SPEED_FREQ_LOW;
  GPIO_InitStruct.Alternate = GPIO_AF14_LTDC;
  HAL_GPIO_Init(GPIOA, &GPIO_InitStruct);

  /*Configure GPIO pin : ACP_RST_Pin */
  GPIO_InitStruct.Pin = ACP_RST_Pin;
  GPIO_InitStruct.Mode = GPIO_MODE_OUTPUT_PP;
  GPIO_InitStruct.Pull = GPIO_NOPULL;
  GPIO_InitStruct.Speed = GPIO_SPEED_FREQ_LOW;
  HAL_GPIO_Init(ACP_RST_GPIO_Port, &GPIO_InitStruct);

  /*Configure GPIO pins : R3_Pin R6_Pin */
  GPIO_InitStruct.Pin = R3_Pin|R6_Pin;
  GPIO_InitStruct.Mode = GPIO_MODE_AF_PP;
  GPIO_InitStruct.Pull = GPIO_NOPULL;
  GPIO_InitStruct.Speed = GPIO_SPEED_FREQ_LOW;
  GPIO_InitStruct.Alternate = GPIO_AF9_LTDC;
  HAL_GPIO_Init(GPIOB, &GPIO_InitStruct);

  /*Configure GPIO pin : BOOT1_Pin */
  GPIO_InitStruct.Pin = BOOT1_Pin;
  GPIO_InitStruct.Mode = GPIO_MODE_INPUT;
  GPIO_InitStruct.Pull = GPIO_NOPULL;
  HAL_GPIO_Init(BOOT1_GPIO_Port, &GPIO_InitStruct);

  /*Configure GPIO pins : A10_Pin A11_Pin BA0_Pin BA1_Pin
                           SDCLK_Pin SDNCAS_Pin */
  GPIO_InitStruct.Pin = A10_Pin|A11_Pin|BA0_Pin|BA1_Pin
                          |SDCLK_Pin|SDNCAS_Pin;
  GPIO_InitStruct.Mode = GPIO_MODE_AF_PP;
  GPIO_InitStruct.Pull = GPIO_NOPULL;
  GPIO_InitStruct.Speed = GPIO_SPEED_FREQ_VERY_HIGH;
  GPIO_InitStruct.Alternate = GPIO_AF12_FMC;
  HAL_GPIO_Init(GPIOG, &GPIO_InitStruct);

  /*Configure GPIO pins : D4_Pin D5_Pin D6_Pin D7_Pin
                           D8_Pin D9_Pin D10_Pin D11_Pin
                           D12_Pin NBL0_Pin NBL1_Pin */
  GPIO_InitStruct.Pin = D4_Pin|D5_Pin|D6_Pin|D7_Pin
                          |D8_Pin|D9_Pin|D10_Pin|D11_Pin
                          |D12_Pin|NBL0_Pin|NBL1_Pin;
  GPIO_InitStruct.Mode = GPIO_MODE_AF_PP;
  GPIO_InitStruct.Pull = GPIO_NOPULL;
  GPIO_InitStruct.Speed = GPIO_SPEED_FREQ_VERY_HIGH;
  GPIO_InitStruct.Alternate = GPIO_AF12_FMC;
  HAL_GPIO_Init(GPIOE, &GPIO_InitStruct);

  /*Configure GPIO pins : G4_Pin G5_Pin B6_Pin B7_Pin */
  GPIO_InitStruct.Pin = G4_Pin|G5_Pin|B6_Pin|B7_Pin;
  GPIO_InitStruct.Mode = GPIO_MODE_AF_PP;
  GPIO_InitStruct.Pull = GPIO_NOPULL;
  GPIO_InitStruct.Speed = GPIO_SPEED_FREQ_LOW;
  GPIO_InitStruct.Alternate = GPIO_AF14_LTDC;
  HAL_GPIO_Init(GPIOB, &GPIO_InitStruct);

  /*Configure GPIO pins : OTG_HS_ID_Pin OTG_HS_DM_Pin OTG_HS_DP_Pin */
  GPIO_InitStruct.Pin = OTG_HS_ID_Pin|OTG_HS_DM_Pin|OTG_HS_DP_Pin;
  GPIO_InitStruct.Mode = GPIO_MODE_AF_PP;
  GPIO_InitStruct.Pull = GPIO_NOPULL;
  GPIO_InitStruct.Speed = GPIO_SPEED_FREQ_LOW;
  GPIO_InitStruct.Alternate = GPIO_AF12_OTG_HS_FS;
  HAL_GPIO_Init(GPIOB, &GPIO_InitStruct);

  /*Configure GPIO pin : VBUS_HS_Pin */
  GPIO_InitStruct.Pin = VBUS_HS_Pin;
  GPIO_InitStruct.Mode = GPIO_MODE_INPUT;
  GPIO_InitStruct.Pull = GPIO_NOPULL;
  HAL_GPIO_Init(VBUS_HS_GPIO_Port, &GPIO_InitStruct);

  /*Configure GPIO pins : D13_Pin D14_Pin D15_Pin D0_Pin
                           D1_Pin D2_Pin D3_Pin */
  GPIO_InitStruct.Pin = D13_Pin|D14_Pin|D15_Pin|D0_Pin
                          |D1_Pin|D2_Pin|D3_Pin;
  GPIO_InitStruct.Mode = GPIO_MODE_AF_PP;
  GPIO_InitStruct.Pull = GPIO_NOPULL;
  GPIO_InitStruct.Speed = GPIO_SPEED_FREQ_VERY_HIGH;
  GPIO_InitStruct.Alternate = GPIO_AF12_FMC;
  HAL_GPIO_Init(GPIOD, &GPIO_InitStruct);

  /*Configure GPIO pin : TE_Pin */
  GPIO_InitStruct.Pin = TE_Pin;
  GPIO_InitStruct.Mode = GPIO_MODE_INPUT;
  GPIO_InitStruct.Pull = GPIO_NOPULL;
  HAL_GPIO_Init(TE_GPIO_Port, &GPIO_InitStruct);

  /*Configure GPIO pins : RDX_Pin WRX_DCX_Pin */
  GPIO_InitStruct.Pin = RDX_Pin|WRX_DCX_Pin;
  GPIO_InitStruct.Mode = GPIO_MODE_OUTPUT_PP;
  GPIO_InitStruct.Pull = GPIO_NOPULL;
  GPIO_InitStruct.Speed = GPIO_SPEED_FREQ_LOW;
  HAL_GPIO_Init(GPIOD, &GPIO_InitStruct);

  /*Configure GPIO pins : R7_Pin DOTCLK_Pin B3_Pin */
  GPIO_InitStruct.Pin = R7_Pin|DOTCLK_Pin|B3_Pin;
  GPIO_InitStruct.Mode = GPIO_MODE_AF_PP;
  GPIO_InitStruct.Pull = GPIO_NOPULL;
  GPIO_InitStruct.Speed = GPIO_SPEED_FREQ_LOW;
  GPIO_InitStruct.Alternate = GPIO_AF14_LTDC;
  HAL_GPIO_Init(GPIOG, &GPIO_InitStruct);

  /*Configure GPIO pins : HSYNC_Pin G6_Pin R2_Pin */
  GPIO_InitStruct.Pin = HSYNC_Pin|G6_Pin|R2_Pin;
  GPIO_InitStruct.Mode = GPIO_MODE_AF_PP;
  GPIO_InitStruct.Pull = GPIO_NOPULL;
  GPIO_InitStruct.Speed = GPIO_SPEED_FREQ_LOW;
  GPIO_InitStruct.Alternate = GPIO_AF14_LTDC;
  HAL_GPIO_Init(GPIOC, &GPIO_InitStruct);

  /*Configure GPIO pins : STLINK_RX_Pin STLINK_TX_Pin */
  GPIO_InitStruct.Pin = STLINK_RX_Pin|STLINK_TX_Pin;
  GPIO_InitStruct.Mode = GPIO_MODE_AF_PP;
  GPIO_InitStruct.Pull = GPIO_NOPULL;
  GPIO_InitStruct.Speed = GPIO_SPEED_FREQ_VERY_HIGH;
  GPIO_InitStruct.Alternate = GPIO_AF7_USART1;
  HAL_GPIO_Init(GPIOA, &GPIO_InitStruct);

  /*Configure GPIO pins : G7_Pin B2_Pin */
  GPIO_InitStruct.Pin = G7_Pin|B2_Pin;
  GPIO_InitStruct.Mode = GPIO_MODE_AF_PP;
  GPIO_InitStruct.Pull = GPIO_NOPULL;
  GPIO_InitStruct.Speed = GPIO_SPEED_FREQ_LOW;
  GPIO_InitStruct.Alternate = GPIO_AF14_LTDC;
  HAL_GPIO_Init(GPIOD, &GPIO_InitStruct);

  /*Configure GPIO pins : G3_Pin B4_Pin */
  GPIO_InitStruct.Pin = G3_Pin|B4_Pin;
  GPIO_InitStruct.Mode = GPIO_MODE_AF_PP;
  GPIO_InitStruct.Pull = GPIO_NOPULL;
  GPIO_InitStruct.Speed = GPIO_SPEED_FREQ_LOW;
  GPIO_InitStruct.Alternate = GPIO_AF9_LTDC;
  HAL_GPIO_Init(GPIOG, &GPIO_InitStruct);

  /*Configure GPIO pins : LD3_Pin LD4_Pin */
  GPIO_InitStruct.Pin = LD3_Pin|LD4_Pin;
  GPIO_InitStruct.Mode = GPIO_MODE_OUTPUT_PP;
  GPIO_InitStruct.Pull = GPIO_NOPULL;
  GPIO_InitStruct.Speed = GPIO_SPEED_FREQ_LOW;
  HAL_GPIO_Init(GPIOG, &GPIO_InitStruct);

  /*Configure GPIO pins : SDCKE1_Pin SDNE1_Pin */
  GPIO_InitStruct.Pin = SDCKE1_Pin|SDNE1_Pin;
  GPIO_InitStruct.Mode = GPIO_MODE_AF_PP;
  GPIO_InitStruct.Pull = GPIO_NOPULL;
  GPIO_InitStruct.Speed = GPIO_SPEED_FREQ_VERY_HIGH;
  GPIO_InitStruct.Alternate = GPIO_AF12_FMC;
  HAL_GPIO_Init(GPIOB, &GPIO_InitStruct);

}

/* USER CODE BEGIN 4 */

void HAL_TIM_PeriodElapsedCallback(TIM_HandleTypeDef *htim)
{
	if(htim -> Instance == TIM2) {
		HAL_GPIO_TogglePin(GPIOG, GPIO_PIN_13);
	}
}

//l3gd20 readaxes dma callback
void HAL_SPI_TxRxCpltCallback(SPI_HandleTypeDef *hspi) {
	if (hspi -> Instance == SPI5) {
		HAL_GPIO_WritePin(GPIOC, GPIO_PIN_1, GPIO_PIN_SET); //stop SPI transfer
		L3GD20_ReadValuesFromRx(); //Read axes' values from rx buffer. No transfer is happening here, only the transferred data is read
		l3gd20_calculate_angle();
		if(calibration_counter < 250) {
			/*Calculate orientation in space without any additional forces other than gravity
			 * using the average of first 250 samples
			 * */
			adxl345_x_avg += (float) x_axis_adxl345;
			adxl345_y_avg += (float) y_axis_adxl345;
			adxl345_z_avg += (float) z_axis_adxl345;
		} else if (!adxl345_calibrated) {
			adxl345_x_avg /= 250.0f;
			adxl345_y_avg /= 250.0f;
			adxl345_z_avg /= 250.0f;
			adxl345_calculate_orientation();
			adxl345_calibrated = 1;
		} else {
			//eliminate gravity

			float accel_roll = atan2f((float)y_axis_adxl345, (float)z_axis_adxl345) * (180.0f / M_PI);
			float accel_pitch = atan2f(-(float)x_axis_adxl345, sqrtf(((float)y_axis_adxl345 * (float)y_axis_adxl345) + ((float)z_axis_adxl345 * (float)z_axis_adxl345))) * (180.0f / M_PI);

			//complementary filter
			x_ang = (0.98f * x_ang) + (0.02f * accel_roll);
			y_ang = (0.98f * y_ang) + (0.02f * accel_pitch);

			float pitch_rad = y_ang * (M_PI / 180.0f);
            float roll_rad  = x_ang * (M_PI / 180.0f);

           grav_x = -sinf(pitch_rad) * 250.0f;
           grav_y = sinf(roll_rad) * cosf(pitch_rad) * 250.0f;
           grav_z = cosf(roll_rad) * cosf(pitch_rad) * 250.0f;

           lin_acc_x = ((float)x_axis_adxl345 - grav_x);
           lin_acc_y = ((float)y_axis_adxl345 - grav_y);
           lin_acc_z = ((float)z_axis_adxl345 - grav_z);
           lin_acc_x_g = lin_acc_x * 0.0039f;
           lin_acc_y_g = lin_acc_y * 0.0039f;
           lin_acc_z_g = lin_acc_z * 0.0039f;

		}
		loop = 1;
	}
}
//adxl345 readaxes dma callback
void HAL_I2C_MemRxCpltCallback(I2C_HandleTypeDef *hi2c) {
	if (hi2c -> Instance == I2C3) {
		ADXL345_ReadValuesFromRx(); //Read axes' values from rx buffer. No transfer is happening here, only the transferred data is read
		L3GD20_ReadAxes_DMA(); //hand the flag
	}
}
static void l3gd20_calculate_angle() {
	if (!l3gd20_calibrated) {
		//use data to calibrate
		calibration_counter += 1;
		l3gd20_x_bias += (float)x_axis_l3gd20;
		l3gd20_y_bias += (float)y_axis_l3gd20;
		l3gd20_z_bias += (float)z_axis_l3gd20;
		if (calibration_counter >= 250) {
			l3gd20_x_bias /= 250.0f;
		    l3gd20_y_bias /= 250.0f;
		    l3gd20_z_bias /= 250.0f;
		    l3gd20_x_bias *= 0.00875f;
		    l3gd20_y_bias *= 0.00875f;
		    l3gd20_z_bias *= 0.00875f;
		  l3gd20_calibrated = 1;
		}
		return;
	}
	xdps -= l3gd20_x_bias;
	ydps -= l3gd20_y_bias;
	zdps -= l3gd20_z_bias;

	if(fabs(xdps) <= 0.5f) xdps = 0.0f;
	if(fabs(ydps) <= 0.5f) ydps = 0.0f;
	if(fabs(zdps) <= 0.5f) zdps = 0.0f;

	x_ang += (((float) xdps) / L3GD20_ODR);
	x_ang += (((float) xdps) / L3GD20_ODR);
	if (x_ang > 180.0f) x_ang -= 360.0f;
	if (x_ang < -180.0f) x_ang += 360.0f;

	y_ang += (((float) ydps) / L3GD20_ODR);
	if (y_ang > 180.0f) y_ang -= 360.0f;
	if (y_ang < -180.0f) y_ang += 360.0f;

	z_ang += (((float) zdps) / L3GD20_ODR);
	if (z_ang > 180.0f) z_ang -= 360.0f;
	if (z_ang < -180.0f) z_ang += 360.0f;

}
static void adxl345_calculate_orientation() {
	x_ang = atan2f(adxl345_y_avg, adxl345_z_avg) * (180.0f / M_PI);
	y_ang = atan2f(-adxl345_x_avg, sqrtf((adxl345_y_avg * adxl345_y_avg) + (adxl345_z_avg * adxl345_z_avg))) * (180.0f / M_PI);

	while(x_ang < 0.0f) x_ang += 360.0f;
	while(y_ang < 0.0f) y_ang += 360.0f;
}
/* USER CODE END 4 */

void Error_Handler(void)
{
  __disable_irq();
  while (1)
  {
  }
}
